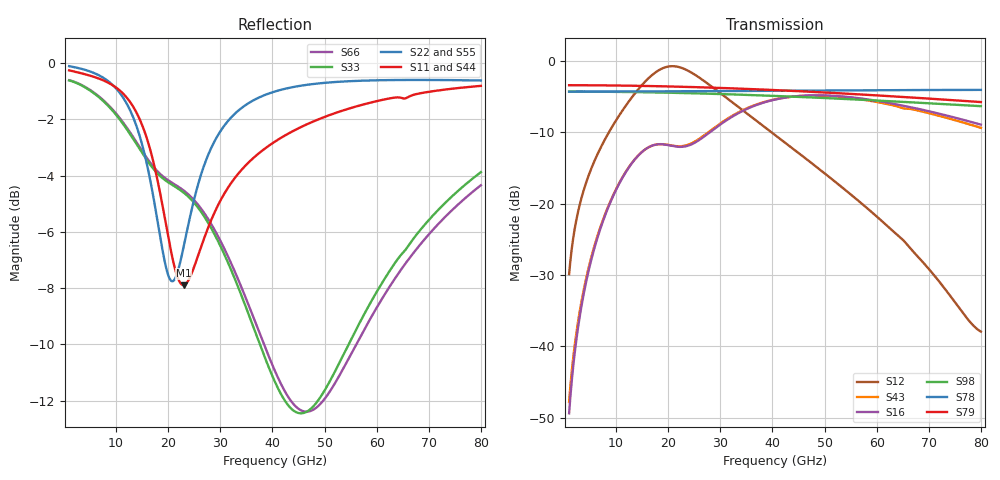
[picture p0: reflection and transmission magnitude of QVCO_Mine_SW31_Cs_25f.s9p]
! Touchstone Ver. 1.0
! Number of ports is 9
# Hz	S	RI	R	50.000000
! SCATTERING PARAMETERS  :
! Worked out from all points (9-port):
!   1001 points, 1 GHz to 80 GHz, reference 50 ohm
!   strongest paths, dB at 1 GHz, 20.75 GHz, 40.5 GHz, 60.25 GHz, 80 GHz:
!     S79: -3.4, -3.6, -4.1, -4.8, -5.8
!     S78: -4.3, -4.2, -4.2, -4.1, -4.0
!     S98: -4.3, -4.4, -4.9, -5.5, -6.3
!     S16: -49.4, -11.9, -5.4, -5.6, -8.9
!     S43: -47.8, -11.9, -5.4, -5.8, -9.4
!     S12: -29.9, -0.7, -10.4, -22.0, -37.9
!   lowest |S11| = -7.9 dB at 22.96 GHz (marker M1), VSWR 2.35, Z = 40.8 + j38.7 ohm
!   |S11| at or under -10 dB: nowhere
